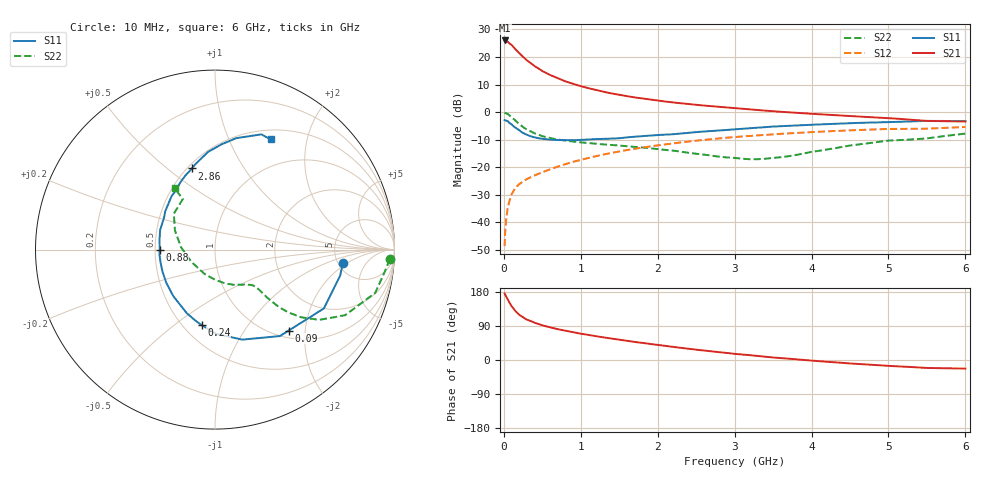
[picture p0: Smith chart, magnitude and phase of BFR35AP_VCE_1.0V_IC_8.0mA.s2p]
! Infineon Technologies  Discrete & RF Semiconductors
! BFR35AP
! VCE =  1.0 V,  IC =  8.0 mA
! Common Emitter S-Parameters:  Nov 2015
# GHz  S  MA  R  50
!  f  S11  S21  S12  S22
! GHz  MAG  ANG  MAG  ANG  MAG  ANG  MAG  ANG
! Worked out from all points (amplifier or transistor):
!   210 points, 10 MHz to 6 GHz, reference 50 ohm
!   highest |S21| = 26.0 dB at 10 MHz (marker M1)
!   |S21| within 3 dB of that: start of sweep to 144.7 MHz
!   unconditionally stable (mu >= 1): 545.5 MHz to end of sweep
!   at 185 MHz: K = 0.52, MSG = 24.2 dB, |S12| = -26.5 dB
!   at 1.52 GHz: K = 1.16, MAG = 7.7 dB, |S12| = -14.2 dB
!   at 6 GHz: K = 1.03, MAG = -0.1 dB, |S12| = -5.4 dB
!   S11 on the Smith chart (normalised r, x): 10 MHz: 5.54, -1.68; 90 MHz: 1.14, -1.64; 240 MHz: 0.61, -0.63; 880 MHz: 0.53, +0.00; 2.86 GHz: 0.53, +0.61; 6 GHz: 0.62, +1.44
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0.01  0.717 -5.9  19.9 175.9  0.0037 87.5  0.9746 -3.1
0.02  0.7121 -11.8  19.62 171.3  0.0077 84.8  0.9601 -6.2
0.05  0.6896 -28.4  18.89 159.4  0.018 76.3  0.9248 -15.1
0.09  0.61 -47.7  16.9 145.9  0.0292 67.5  0.8311 -24.2
0.1  0.6024 -53.1  16.57 142.1  0.0321 66.3  0.8114 -26.8
0.15  0.5242 -73.1  13.84 128.8  0.0421 60.6  0.6986 -34.1
0.2  0.4689 -89.4  11.76 119.3  0.0494 57.5  0.6072 -38.3
0.24  0.4267 -100.1  10.35 113.6  0.0538 56.0  0.5476 -40.2
0.26  0.4114 -105.1  9.74 110.9  0.0561 55.8  0.5225 -40.9
0.3  0.3877 -113.9  8.675 106.4  0.061 56.1  0.4812 -41.9
0.4  0.3482 -131.8  6.815 98.2  0.071 56.0  0.412 -42.6
0.5  0.3283 -145.8  5.56 91.4  0.081 57.1  0.3659 -42.5
0.7  0.312 -166.1  4.098 81.2  0.1025 58.6  0.3181 -42.4
0.88  0.3081 179.9  3.314 74.0  0.1229 58.6  0.2942 -43.1
1.02  0.3139 170.0  2.9 68.9  0.1384 58.4  0.2808 -44.5
1.4  0.3304 150.5  2.176 56.6  0.1817 56.2  0.2537 -50.4
2.02  0.385 128.3  1.601 39.3  0.2511 49.9  0.2115 -65.8
2.86  0.4702 105.9  1.224 19.4  0.3395 39.1  0.1522 -103.8
3.1  0.4978 101.2  1.146 14.5  0.3613 35.7  0.1424 -120.5
4.1  0.5969 84.7  0.913 -3.2  0.4405 21.9  0.1988 170.7
5.1  0.6636 72.5  0.761 -16.5  0.4947 8.3  0.3081 135.4
6  0.6881 63.2  0.674 -22.7  0.5368 -1.1  0.4076 123.3
